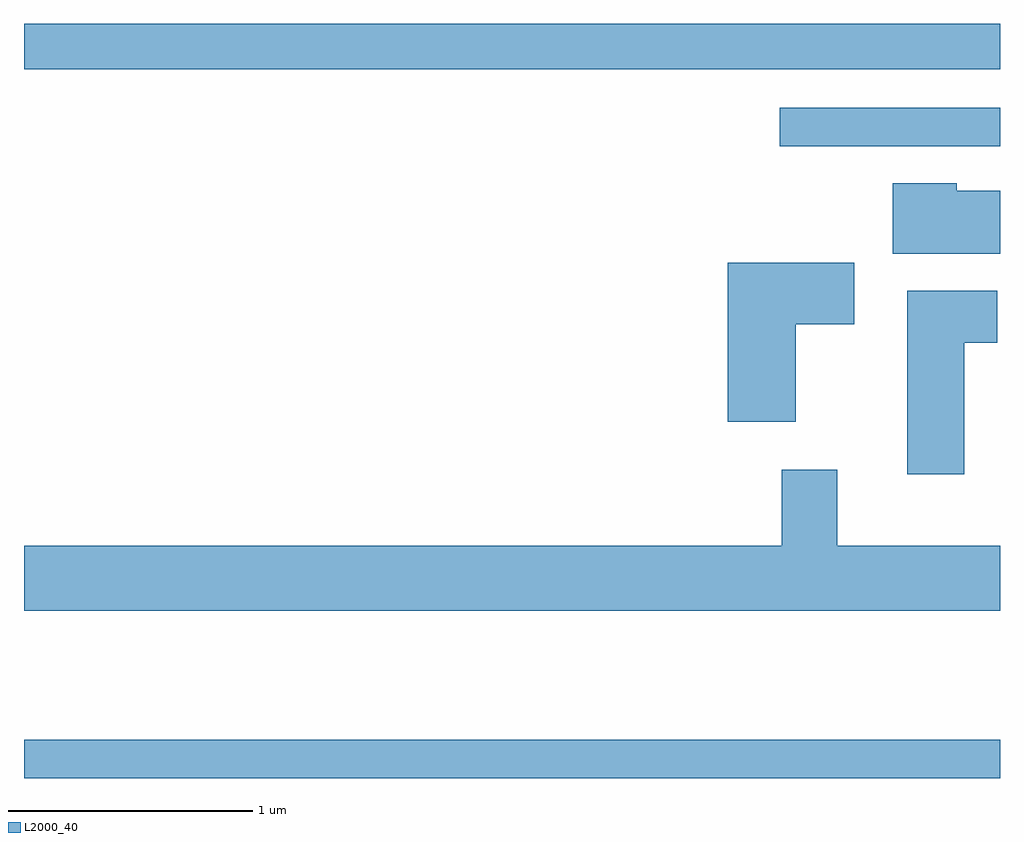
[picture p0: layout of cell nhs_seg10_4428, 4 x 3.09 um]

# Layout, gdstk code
import gdstk
lib = gdstk.Library(unit=1e-6, precision=1e-09)
def R(c, l, rs):  # rectangles x0, y0, x1, y1
    for r in rs: c.add(gdstk.rectangle(r[:2], r[2:], *l))
def P(c, l, *ps):  # polygons
    for p in ps: c.add(gdstk.Polygon(p, *l))
L2000_40 = (2000, 40)

nhs_seg10_4428 = lib.new_cell('nhs_seg10_4428')
R(nhs_seg10_4428, L2000_40, [(315.611,2135.431,319.611,2135.589), (318.708,2138.021,319.611,2138.179), (315.611,2138.336,319.611,2138.522)])
P(nhs_seg10_4428, L2000_40, [(319.611,2137.839),(319.434,2137.839),(319.434,2137.869),(319.171,2137.869),(319.171,2137.581),(319.611,2137.581)],
  [(318.774,2137.291),(319.014,2137.291),(319.014,2137.544),(318.496,2137.544),(318.496,2136.891),(318.774,2136.891)],
  [(319.464,2137.216),(319.599,2137.216),(319.599,2137.429),(319.231,2137.429),(319.231,2136.676),(319.464,2136.676)],
  [(319.611,2136.384),(318.944,2136.384),(318.944,2136.694),(318.716,2136.694),(318.716,2136.384),(315.611,2136.384),(315.611,2136.116),(319.611,2136.116)])

lib.write_gds('nhs_seg10_4428.gds')
